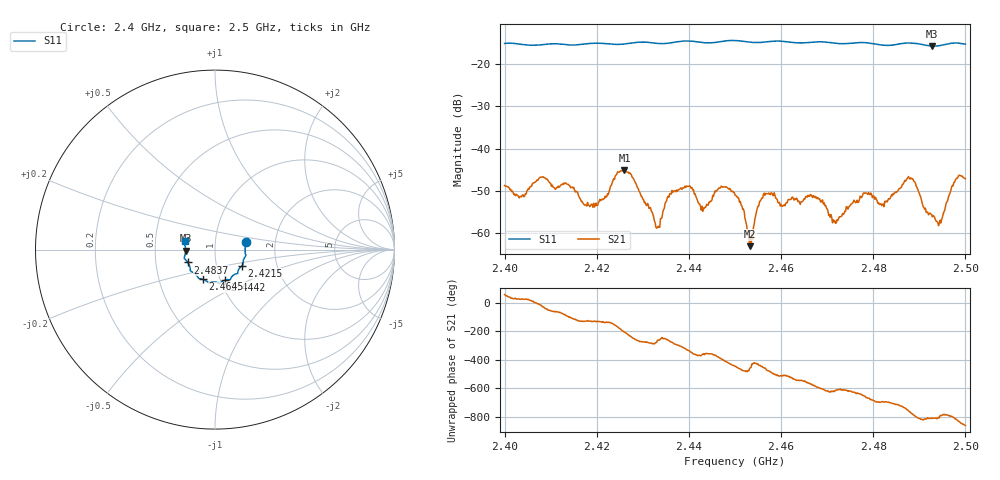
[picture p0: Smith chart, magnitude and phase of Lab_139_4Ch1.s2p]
# Hz S RI R 50
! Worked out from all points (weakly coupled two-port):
!   601 points, 2.4 GHz to 2.5 GHz, reference 50 ohm
!   highest |S21| = -45.08 dB at 2.426 GHz (marker M1); lowest = -63.1 dB at 2.4532 GHz (marker M2)
!   lowest |S11| = -15.7 dB at 2.4928 GHz (marker M3), VSWR 1.39, Z = 36 - j0.387 ohm
!   |S11| at or under -10 dB: start of sweep to end of sweep
!   S12 and S22 are empty: the file has one direction only
!   S11 on the Smith chart (normalised r, x): 2.4 GHz: 1.41, +0.12; 2.4215 GHz: 1.33, -0.25; 2.4442 GHz: 1.05, -0.37; 2.4645 GHz: 0.83, -0.29; 2.4837 GHz: 0.73, -0.11; 2.5 GHz: 0.71, +0.07
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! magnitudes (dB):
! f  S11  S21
! 2.4 GHz  -15.1  -48.7
! 2.4083 GHz  -15.4  -46.6
! 2.4167 GHz  -15.3  -52.5
! 2.4215 GHz  -15.1  -51.9
! 2.426 GHz  -15.2  -45.1
! 2.4333 GHz  -15.1  -58.3
! 2.4368 GHz  -14.8  -49.9
! 2.4442 GHz  -15.0  -53.4
! 2.45 GHz  -14.4  -50.9
! 2.4532 GHz  -14.8  -63.1
! 2.4567 GHz  -14.7  -50.6
! 2.4645 GHz  -15.0  -52.5
! 2.4667 GHz  -14.8  -51.2
! 2.4717 GHz  -15.0  -57.0
! 2.4782 GHz  -14.9  -50.5
! 2.4833 GHz  -15.6  -51.8
! 2.4837 GHz  -15.5  -51.8
! 2.4882 GHz  -15.0  -46.9
! 2.4928 GHz  -15.7  -56.1
! 2.4945 GHz  -15.6  -56.9
! 2.4975 GHz  -15.0  -48.0
! 2.5 GHz  -15.3  -47.1
